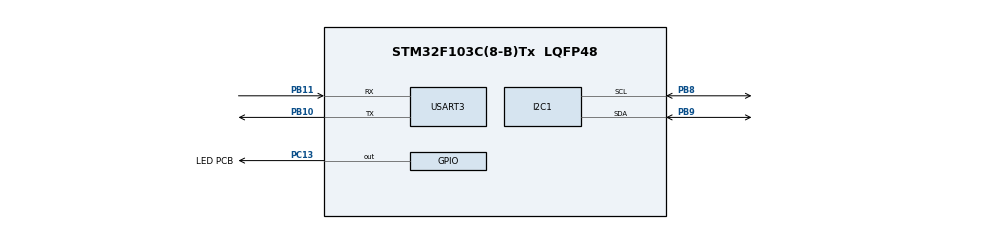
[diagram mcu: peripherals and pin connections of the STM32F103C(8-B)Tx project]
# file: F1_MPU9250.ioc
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Mcu.Family=STM32F1
Mcu.Name=STM32F103C(8-B)Tx
Mcu.Package=LQFP48
NVIC.PriorityGroup=NVIC_PRIORITYGROUP_4
PA13.Mode=Serial_Wire
PA13.Signal=SYS_JTMS-SWDIO
PA14.Mode=Serial_Wire
PA14.Signal=SYS_JTCK-SWCLK
PB10.Mode=Asynchronous
PB10.Signal=USART3_TX
PB11.Mode=Asynchronous
PB11.Signal=USART3_RX
PB8.Mode=I2C
PB8.Signal=I2C1_SCL
PB9.Mode=I2C
PB9.Signal=I2C1_SDA
PC13-TAMPER-RTC.GPIO_Label=LED PCB
PC13-TAMPER-RTC.Signal=GPIO_Output
PD0-OSC_IN.Mode=HSE-External-Oscillator
PD0-OSC_IN.Signal=RCC_OSC_IN
PD1-OSC_OUT.Mode=HSE-External-Oscillator
PD1-OSC_OUT.Signal=RCC_OSC_OUT
ProjectManager.HeapSize=0x200
ProjectManager.StackSize=0x400
ProjectManager.TargetToolchain=MDK-ARM V5
RCC.APB1Freq_Value=8000000
RCC.APB2Freq_Value=8000000
USART3.VirtualMode=VM_ASYNC
board=custom

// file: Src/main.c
/* USER CODE BEGIN Header */
/**
  ******************************************************************************
  * @file           : main.c
  * @brief          : Main program body
  ******************************************************************************
  ** This notice applies to any and all portions of this file
  * that are not between comment pairs USER CODE BEGIN and
  * USER CODE END. Other portions of this file, whether
  * inserted by the user or by software development tools
  * are owned by their respective copyright owners.
  *
  * COPYRIGHT(c) 2019 STMicroelectronics
  *
  * Redistribution and use in source and binary forms, with or without modification,
  * are permitted provided that the following conditions are met:
  *   1. Redistributions of source code must retain the above copyright notice,
  *      this list of conditions and the following disclaimer.
  *   2. Redistributions in binary form must reproduce the above copyright notice,
  *      this list of conditions and the following disclaimer in the documentation
  *      and/or other materials provided with the distribution.
  *   3. Neither the name of STMicroelectronics nor the names of its contributors
  *      may be used to endorse or promote products derived from this software
  *      without specific prior written permission.
  *
  * THIS SOFTWARE IS PROVIDED BY THE COPYRIGHT HOLDERS AND CONTRIBUTORS "AS IS"
  * AND ANY EXPRESS OR IMPLIED WARRANTIES, INCLUDING, BUT NOT LIMITED TO, THE
  * IMPLIED WARRANTIES OF MERCHANTABILITY AND FITNESS FOR A PARTICULAR PURPOSE ARE
  * DISCLAIMED. IN NO EVENT SHALL THE COPYRIGHT HOLDER OR CONTRIBUTORS BE LIABLE
  * FOR ANY DIRECT, INDIRECT, INCIDENTAL, SPECIAL, EXEMPLARY, OR CONSEQUENTIAL
  * DAMAGES (INCLUDING, BUT NOT LIMITED TO, PROCUREMENT OF SUBSTITUTE GOODS OR
  * SERVICES; LOSS OF USE, DATA, OR PROFITS; OR BUSINESS INTERRUPTION) HOWEVER
  * CAUSED AND ON ANY THEORY OF LIABILITY, WHETHER IN CONTRACT, STRICT LIABILITY,
  * OR TORT (INCLUDING NEGLIGENCE OR OTHERWISE) ARISING IN ANY WAY OUT OF THE USE
  * OF THIS SOFTWARE, EVEN IF ADVISED OF THE POSSIBILITY OF SUCH DAMAGE.
  *
  ******************************************************************************
  */
/* USER CODE END Header */

#include "main.h"

/* USER CODE BEGIN Includes */
#include <math.h>
#include "TJ_MPU6050.h"
#include "madgwickAHRS.h"

/* USER CODE END Includes */

I2C_HandleTypeDef hi2c1;

UART_HandleTypeDef huart3;

void SystemClock_Config(void);
static void MX_GPIO_Init(void);
static void MX_USART3_UART_Init(void);
static void MX_I2C1_Init(void);
/* USER CODE BEGIN PFP */

#ifdef __GNUC__
	#define PUTCHAR_PROTOTYPE int __io_putchar(int ch)
#else
	#define PUTCHAR_PROTOTYPE int fputc(int ch, FILE *f)
#endif

/* USER CODE END PFP */

/* USER CODE BEGIN 0 */

PUTCHAR_PROTOTYPE{
	HAL_UART_Transmit(&huart3, (uint8_t *)&ch, 1, 0xFFFF);
	return ch;
}

float mpuData[7] = {0}; // for holding the data
RawData_Def accRaw, gyroRaw;
ScaledData_Def accScale, gyroScale;

volatile float yaw = 0.0;
volatile float pitch = 0.0;
volatile float roll = 0.0;

uint8_t whatIsSampleRateDivider;

/* USER CODE END 0 */

int main(void)
{
  /* USER CODE BEGIN 1 */
	MPU_ConfigTypeDef mpuConfig;

  /* USER CODE END 1 */

  /* MCU Configuration--------------------------------------------------------*/

  /* Reset of all peripherals, Initializes the Flash interface and the Systick. */
  HAL_Init();

  /* Configure the system clock */
  SystemClock_Config();

  /* Initialize all configured peripherals */
  MX_GPIO_Init();
  MX_USART3_UART_Init();
  MX_I2C1_Init();
  /* USER CODE BEGIN 2 */

	//Init the sensor
	MPU6050_Init(&hi2c1);
	//Config the sensor
	mpuConfig.Accel_Full_Scale = AFS_SEL_8g;
	mpuConfig.ClockSource = Internal_8MHz;
	mpuConfig.CONFIG_DLPF = DLPF_260A_256G_Hz;
	mpuConfig.Gyro_Full_Scale = FS_SEL_1000;
	mpuConfig.Sleep_Mode_Bit = 0; // 1: sleed mode, 0: normal mode
	MPU6050_Config(&mpuConfig);

	//_Gyro_Cali(0.039, 0.046, 0.0026, 0.0058, 0.75, 0.45);

	_Accel_Cali(0.089, 0.093, 0.0056, 0.001, 1.015, 1.025);
	_Gyro_Cali(-4.9, -4.6, -2.2, -1.8, -1.9, -0.4);

  /* USER CODE END 2 */

  /* Infinite loop */
  while (1)
  {

		yaw = atan2(2.0f * (q1*q2 - q0*q3), 2.0f*(q0*q0) + 2.0f*(q1*q1) - 1.0f) / 3.141592 * 180;
		pitch = atan2(2.0f*q2*q3 - 2.0f*q0*q1, 2.0f*(q0*q0) + 2.0f*(q3*q3) - 1.0f)  / 3.141592 * 180;
		//pitch = acos(q0 / sqrt(q0*q0 + q2*q2)) * 2.0f - 1.570796327f;
		roll = -asin(2.0f*q1*q3 + 2.0f*q0*q2)  / 3.141592 * 180;

		HAL_Delay(100);

  }
}

void SystemClock_Config(void)
{
  RCC_OscInitTypeDef RCC_OscInitStruct = {0};
  RCC_ClkInitTypeDef RCC_ClkInitStruct = {0};

  /**Initializes the CPU, AHB and APB busses clocks
  */
  RCC_OscInitStruct.OscillatorType = RCC_OSCILLATORTYPE_HSI;
  RCC_OscInitStruct.HSIState = RCC_HSI_ON;
  RCC_OscInitStruct.HSICalibrationValue = RCC_HSICALIBRATION_DEFAULT;
  RCC_OscInitStruct.PLL.PLLState = RCC_PLL_NONE;
  if (HAL_RCC_OscConfig(&RCC_OscInitStruct) != HAL_OK)
  {
    Error_Handler();
  }
  /**Initializes the CPU, AHB and APB busses clocks
  */
  RCC_ClkInitStruct.ClockType = RCC_CLOCKTYPE_HCLK|RCC_CLOCKTYPE_SYSCLK
                              |RCC_CLOCKTYPE_PCLK1|RCC_CLOCKTYPE_PCLK2;
  RCC_ClkInitStruct.SYSCLKSource = RCC_SYSCLKSOURCE_HSI;
  RCC_ClkInitStruct.AHBCLKDivider = RCC_SYSCLK_DIV1;
  RCC_ClkInitStruct.APB1CLKDivider = RCC_HCLK_DIV1;
  RCC_ClkInitStruct.APB2CLKDivider = RCC_HCLK_DIV1;

  if (HAL_RCC_ClockConfig(&RCC_ClkInitStruct, FLASH_LATENCY_0) != HAL_OK)
  {
    Error_Handler();
  }
}

static void MX_I2C1_Init(void)
{

  hi2c1.Instance = I2C1;
  hi2c1.Init.ClockSpeed = 100000;
  hi2c1.Init.DutyCycle = I2C_DUTYCYCLE_2;
  hi2c1.Init.OwnAddress1 = 0;
  hi2c1.Init.AddressingMode = I2C_ADDRESSINGMODE_7BIT;
  hi2c1.Init.DualAddressMode = I2C_DUALADDRESS_DISABLE;
  hi2c1.Init.OwnAddress2 = 0;
  hi2c1.Init.GeneralCallMode = I2C_GENERALCALL_DISABLE;
  hi2c1.Init.NoStretchMode = I2C_NOSTRETCH_DISABLE;
  if (HAL_I2C_Init(&hi2c1) != HAL_OK)
  {
    Error_Handler();
  }

}

static void MX_USART3_UART_Init(void)
{

  huart3.Instance = USART3;
  huart3.Init.BaudRate = 115200;
  huart3.Init.WordLength = UART_WORDLENGTH_8B;
  huart3.Init.StopBits = UART_STOPBITS_1;
  huart3.Init.Parity = UART_PARITY_NONE;
  huart3.Init.Mode = UART_MODE_TX_RX;
  huart3.Init.HwFlowCtl = UART_HWCONTROL_NONE;
  huart3.Init.OverSampling = UART_OVERSAMPLING_16;
  if (HAL_UART_Init(&huart3) != HAL_OK)
  {
    Error_Handler();
  }

}

static void MX_GPIO_Init(void)
{
  GPIO_InitTypeDef GPIO_InitStruct = {0};

  /* GPIO Ports Clock Enable */
  __HAL_RCC_GPIOC_CLK_ENABLE();
  __HAL_RCC_GPIOD_CLK_ENABLE();
  __HAL_RCC_GPIOB_CLK_ENABLE();
  __HAL_RCC_GPIOA_CLK_ENABLE();

  /*Configure GPIO pin Output Level */
  HAL_GPIO_WritePin(LED_PCB_GPIO_Port, LED_PCB_Pin, GPIO_PIN_RESET);

  /*Configure GPIO pin : LED_PCB_Pin */
  GPIO_InitStruct.Pin = LED_PCB_Pin;
  GPIO_InitStruct.Mode = GPIO_MODE_OUTPUT_PP;
  GPIO_InitStruct.Pull = GPIO_NOPULL;
  GPIO_InitStruct.Speed = GPIO_SPEED_FREQ_LOW;
  HAL_GPIO_Init(LED_PCB_GPIO_Port, &GPIO_InitStruct);

}

void Error_Handler(void)
{
}

/************************ (C) COPYRIGHT STMicroelectronics *****END OF FILE****/
